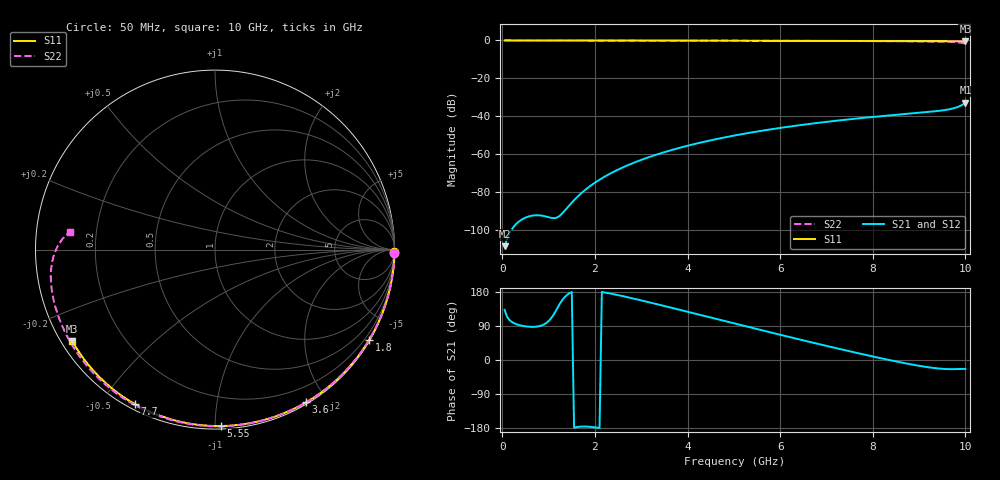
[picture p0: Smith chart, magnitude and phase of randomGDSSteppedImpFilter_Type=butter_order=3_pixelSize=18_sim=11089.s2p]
! freq	dB(S11)	phase(S11)	dB(S12)	phase(S12)
!  dB(S21)	phase(S21)	dB(S22)	phase(S22)
!S-par simulation data
#  GHz  S  DB  R 50
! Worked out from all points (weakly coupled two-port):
!   200 points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, 50 MHz to 10 GHz, reference 50 ohm
!   highest |S21| = -32.92 dB at 10 GHz (marker M1); lowest = -108.6 dB at 50 MHz (marker M2)
!   lowest |S11| = -0.5 dB at 10 GHz (marker M3), VSWR 34.90, Z = 1.56 - j14.6 ohm
!   |S11| at or under -10 dB: nowhere
!   |S22| runs from -1.8 to 0.0 dB; largest |S21 - S12| = 0
!   S11 on the Smith chart (normalised r, x): 50 MHz: open; 1.8 GHz: 0.03, -3.69; 3.6 GHz: 0.02, -1.76; 5.55 GHz: 0.02, -1.03; 7.7 GHz: 0.02, -0.61; 10 GHz: 0.03, -0.29
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0.05  -0.00 -0.9  -108.59 132.3  -108.59 132.3  -0.00 -1.0
0.85  -0.02 -14.5  -92.47 91.2  -92.47 91.2  -0.02 -16.6
1.7  -0.04 -28.7  -80.75 -175.7  -80.75 -175.7  -0.04 -33.0
1.75  -0.04 -29.5  -79.69 -175.5  -79.69 -175.5  -0.04 -33.9
1.8  -0.04 -30.4  -78.68 -175.6  -78.68 -175.6  -0.04 -34.8
2.1  -0.04 -35.3  -73.50 -179.5  -73.50 -179.5  -0.05 -40.5
2.45  -0.05 -41.0  -68.78 172.5  -68.78 172.5  -0.06 -47.0
2.9  -0.06 -48.2  -63.98 160.2  -63.98 160.2  -0.07 -55.2
3.4  -0.07 -56.1  -59.72 145.5  -59.72 145.5  -0.08 -64.2
3.6  -0.08 -59.2  -58.24 139.5  -58.24 139.5  -0.09 -67.8
4.3  -0.10 -69.8  -53.80 118.2  -53.80 118.2  -0.11 -79.9
5.05  -0.12 -80.9  -50.00 95.3  -50.00 95.3  -0.14 -92.6
5.55  -0.14 -88.1  -47.87 80.1  -47.87 80.1  -0.16 -100.8
6.1  -0.17 -95.8  -45.81 63.6  -45.81 63.6  -0.19 -109.7
6.7  -0.20 -104.1  -43.85 45.9  -43.85 45.9  -0.23 -119.3
7.7  -0.27 -117.4  -41.10 17.5  -41.10 17.5  -0.31 -135.4
8.35  -0.32 -126.0  -39.59 0.1  -39.59 0.1  -0.38 -146.1
9.1  -0.40 -135.7  -37.98 -17.3  -37.98 -17.3  -0.48 -159.5
9.6  -0.45 -142.2  -36.57 -24.0  -36.57 -24.0  -0.66 -170.7
9.85  -0.48 -145.4  -34.97 -23.7  -34.97 -23.7  -1.00 -179.2
9.95  -0.49 -146.7  -33.75 -23.5  -33.75 -23.5  -1.40 175.9
10  -0.50 -147.4  -32.92 -23.9  -32.92 -23.9  -1.76 173.0
